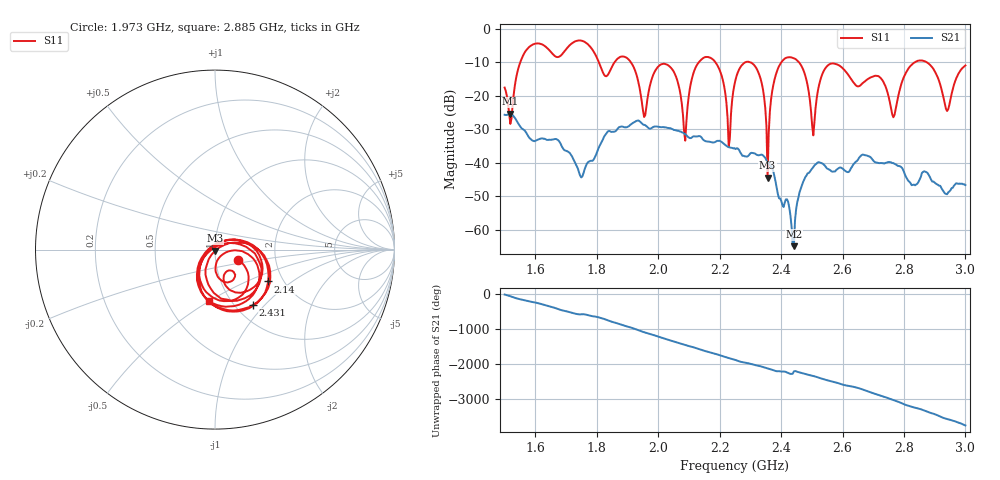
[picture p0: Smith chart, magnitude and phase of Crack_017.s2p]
# HZ S RI R 50
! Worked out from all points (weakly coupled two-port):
!   404 points, 1.5 GHz to 3 GHz, reference 50 ohm
!   highest |S21| = -25.33 dB at 1.519 GHz (marker M1); lowest = -64.9 dB at 2.442 GHz (marker M2)
!   lowest |S11| = -44.4 dB at 2.356 GHz (marker M3), VSWR 1.01, Z = 50 - j0.599 ohm
!   |S11| at or under -10 dB: 1.911 GHz to 2.132 GHz (221.6 MHz wide, 11 % of centre); 2.458 GHz to 2.836 GHz (378 MHz wide, 14.3 % of centre); 2.874 GHz to end of sweep (the widest 3 of 7)
!   S12 and S22 are empty: the file has one direction only
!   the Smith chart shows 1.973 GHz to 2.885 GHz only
!   S11 on the Smith chart (normalised r, x): 1.973 GHz: 1.28, -0.15; 2.14 GHz: 1.67, -0.67; 2.431 GHz: 1.20, -0.86; 2.885 GHz: 0.80, -0.50
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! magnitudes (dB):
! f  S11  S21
! 1.5 GHz  -17.6  -25.7
! 1.519 GHz  -28.4  -25.3
! 1.578 GHz  -5.6  -32.3
! 1.753 GHz  -3.6  -44.1
! 1.973 GHz  -17.1  -29.8
! 2.002 GHz  -11.1  -29.3
! 2.088 GHz  -33.4  -31.5
! 2.14 GHz  -9.2  -32.3
! 2.2 GHz  -12.3  -33.4
! 2.23 GHz  -35.2  -35.4
! 2.252 GHz  -15.2  -35.9
! 2.319 GHz  -11.7  -37.5
! 2.356 GHz  -44.4  -39.9
! 2.386 GHz  -12.9  -47.6
! 2.431 GHz  -8.5  -55.7
! 2.442 GHz  -8.8  -64.9
! 2.501 GHz  -29.0  -41.7
! 2.565 GHz  -10.4  -42.6
! 2.751 GHz  -20.5  -39.8
! 2.885 GHz  -10.8  -44.3
! 2.94 GHz  -24.6  -49.4
! 3 GHz  -11.0  -46.7
